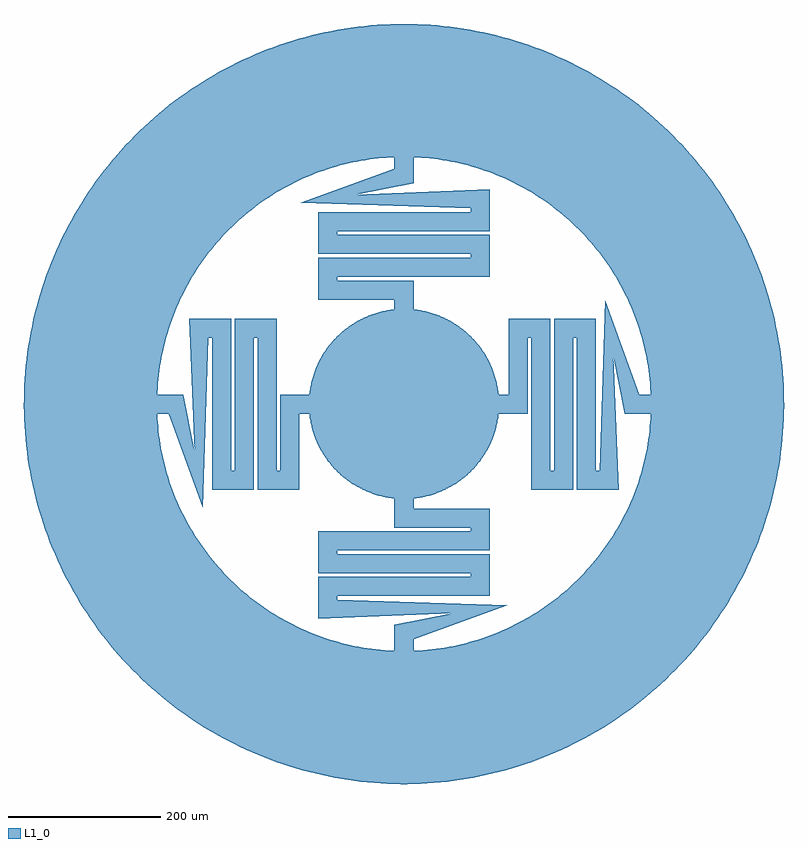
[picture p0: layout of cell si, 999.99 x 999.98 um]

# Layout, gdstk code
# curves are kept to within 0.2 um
import gdstk
lib = gdstk.Library(unit=1e-6, precision=1e-09)
def P(c, l, *ps):  # polygons
    for p in ps: c.add(gdstk.Polygon(p, *l))
L1_0 = (1, 0)

c_si = lib.new_cell('si')
P(c_si, L1_0, [(-1.094,-124.995),(-14.19,-124.192),(-24.989,-122.477),(-37.69,-119.183),(-47.962,-115.433),(-57.867,-110.799),(-69.162,-104.123),(-79.695,-96.3),(-89.35,-87.416),(-98.021,-77.569),(-104.425,-68.706),(-111.051,-57.381),(-116.454,-45.425),(-119.979,-35.073),(-122.994,-22.304),(-124.473,-11.469),(-124.989,1.641),(-124.368,12.558),(-122.366,25.525),(-119.017,38.211),(-115.222,48.466),(-109.507,60.277),(-103.82,69.617),(-95.951,80.115),(-87.024,89.732),(-77.14,98.359),(-68.248,104.724),(-56.895,111.301),(-46.95,115.848),(-36.645,119.508),(-23.917,122.691),(-10.925,124.522),(2.188,124.981),(15.276,124.063),(26.06,122.253),(36.645,119.508),(48.97,115.008),(60.755,109.242),(70.07,103.514),(80.535,95.599),(88.582,88.195),(97.338,78.424),(103.82,69.617),(109.507,60.277),(115.222,48.466),(119.667,36.122),(122.794,23.38),(124.368,12.558),(124.999,-0.547),(124.473,-11.469),(122.585,-24.453),(119.346,-37.168),(114.793,-49.473),(108.975,-61.233),(103.206,-70.523),(96.648,-79.273),(87.806,-88.967),(79.695,-96.3),(69.162,-104.123),(57.867,-110.799),(47.962,-115.433),(37.69,-119.183),(24.989,-122.477),(12.014,-124.421)],
  [(-4.375,-499.981),(-30.609,-499.062),(-56.759,-496.768),(-82.752,-493.105),(-99.958,-489.907),(-125.531,-483.985),(-150.759,-476.73),(-175.57,-468.161),(-199.898,-458.302),(-215.815,-451.025),(-239.188,-439.078),(-261.902,-425.92),(-283.894,-411.588),(-305.103,-396.121),(-325.472,-379.563),(-344.944,-361.959),(-357.4,-349.665),(-375.258,-330.426),(-392.082,-310.277),(-407.826,-289.272),(-417.699,-274.822),(-431.547,-252.522),(-440.12,-237.265),(-451.965,-213.839),(-462.565,-189.825),(-471.89,-165.287),(-479.914,-140.294),(-486.616,-114.914),(-491.976,-89.217),(-494.797,-71.945),(-497.891,-45.878),(-499.612,-19.685),(-499.957,6.563),(-499.421,24.056),(-497.47,50.233),(-495.408,67.612),(-491.176,93.519),(-487.603,110.651),(-481.124,136.089),(-476.066,152.843),(-467.389,177.617),(-457.423,201.902),(-450.077,217.786),(-438.027,241.107),(-429.321,256.289),(-415.278,278.467),(-405.279,292.83),(-394.782,306.834),(-379.945,325),(0,325),(-22.734,324.204),(-39.717,322.564),(-62.184,318.996),(-78.839,315.293),(-95.278,310.72),(-116.779,303.295),(-132.536,296.748),(-152.969,286.75),(-167.807,278.327),(-186.865,265.907),(-205.008,252.184),(-217.96,241.078),(-234.29,225.241),(-245.788,212.634),(-256.609,199.442),(-269.931,181.003),(-279.058,166.588),(-290.028,146.659),(-297.325,131.236),(-305.777,110.117),(-312.73,88.458),(-316.942,71.923),(-320.28,55.19),(-323.356,32.652),(-324.848,9.953),(-324.922,-7.11),(-323.629,-29.821),(-321.618,-46.764),(-317.559,-69.147),(-313.492,-85.718),(-306.729,-107.437),(-300.667,-123.386),(-293.778,-138.996),(-283.335,-159.205),(-271.505,-178.634),(-261.755,-192.637),(-251.285,-206.109),(-236.252,-223.182),(-224.213,-235.273),(-207.207,-250.381),(-193.781,-260.91),(-175.055,-273.826),(-160.443,-282.636),(-140.28,-293.167),(-124.7,-300.125),(-103.401,-308.112),(-81.595,-314.591),(-64.973,-318.439),(-42.538,-322.204),(-25.57,-323.993),(-2.844,-324.988),(14.216,-324.689),(36.893,-322.899),(53.789,-320.518),(70.536,-317.253),(92.555,-311.542),(114.121,-304.305),(129.934,-297.896),(150.454,-288.078),(165.365,-279.785),(184.531,-267.532),(198.317,-257.479),(211.557,-246.716),(228.296,-231.313),(240.122,-219.013),(251.285,-206.109),(261.755,-192.637),(271.505,-178.634),(280.505,-164.139),(288.733,-149.192),(296.165,-133.833),(302.781,-118.105),(308.562,-102.052),(313.492,-85.718),(317.559,-69.147),(320.75,-52.386),(323.058,-35.48),(324.101,-24.152),(324.922,-7.11),(324.848,9.953),(323.878,26.987),(322.735,38.306),(320.28,55.19),(316.942,71.923),(312.73,88.458),(307.657,104.748),(301.736,120.75),(294.983,136.419),(287.417,151.713),(279.058,166.588),(269.931,181.003),(260.06,194.92),(249.472,208.3),(238.196,221.106),(226.264,233.302),(217.96,241.078),(200.563,255.733),(191.49,262.596),(177.445,272.284),(157.964,284.029),(137.709,294.383),(116.779,303.295),(95.278,310.72),(73.309,316.624),(62.184,318.996),(45.356,321.82),(22.734,324.204),(0,325),(-379.945,325),(-372.352,333.697),(-360.446,346.524),(-341.763,364.963),(-322.138,382.396),(-301.625,398.776),(-280.281,414.056),(-258.165,428.195),(-235.337,441.154),(-211.86,452.897),(-187.799,463.391),(-163.221,472.609),(-138.193,480.523),(-112.783,487.114),(-87.063,492.362),(-69.779,495.107),(-52.409,497.246),(-26.241,499.311),(0,500),(17.498,499.694),(43.699,498.087),(69.779,495.107),(95.667,490.763),(121.291,485.065),(146.581,478.031),(171.467,469.68),(195.88,460.034),(211.86,452.897),(235.337,441.154),(258.165,428.195),(280.281,414.056),(294.6,403.994),(315.396,387.976),(335.323,370.888),(354.326,352.779),(372.352,333.697),(389.352,313.696),(405.279,292.83),(415.278,278.467),(429.321,256.289),(442.179,233.404),(453.819,209.876),(464.209,185.77),(473.318,161.151),(481.124,136.089),(487.603,110.651),(491.176,93.519),(495.408,67.612),(498.273,41.519),(499.421,24.056),(499.995,-2.188),(499.191,-28.425),(497.012,-54.584),(494.797,-71.945),(490.339,-97.813),(486.616,-114.914),(479.914,-140.294),(471.89,-165.287),(462.565,-189.825),(451.965,-213.839),(440.12,-237.265),(427.061,-260.036),(412.826,-282.09),(402.701,-296.365),(386.592,-317.091),(369.418,-336.943),(351.225,-355.866),(332.065,-373.809),(311.989,-390.721),(291.054,-406.556),(269.316,-421.271),(254.408,-430.438),(231.467,-443.196),(207.888,-454.733),(183.737,-465.017),(159.079,-474.019),(142.392,-479.296),(117.042,-486.108),(91.369,-491.581),(65.444,-495.699),(39.339,-498.45),(13.125,-499.828)])
c_si.add(gdstk.FlexPath([(0,0),(0,150),(-100,150),(-100,180),(100,180),(100,210),(-100,210),(-100,240),(100,240),(100,270),(-100,270),(-100,270),(0,300),(0,325)], 25, ends="flush", simple_path=True, layer=1, datatype=0))  # L1_0
c_si.add(gdstk.FlexPath([(0,0),(-150,0),(-150,-100),(-180,-100),(-180,100),(-210,100),(-210,-100),(-240,-100),(-240,100),(-270,100),(-270,-100),(-270,-100),(-300,0),(-325,0)], 25, ends="flush", simple_path=True, layer=1, datatype=0))  # L1_0
c_si.add(gdstk.FlexPath([(0,0),(0,-150),(100,-150),(100,-180),(-100,-180),(-100,-210),(100,-210),(100,-240),(-100,-240),(-100,-270),(100,-270),(100,-270),(0,-300),(0,-325)], 25, ends="flush", simple_path=True, layer=1, datatype=0))  # L1_0
c_si.add(gdstk.FlexPath([(0,0),(150,0),(150,100),(180,100),(180,-100),(210,-100),(210,100),(240,100),(240,-100),(270,-100),(270,100),(270,100),(300,0),(325,0)], 25, ends="flush", simple_path=True, layer=1, datatype=0))  # L1_0

lib.write_gds('si.gds')
